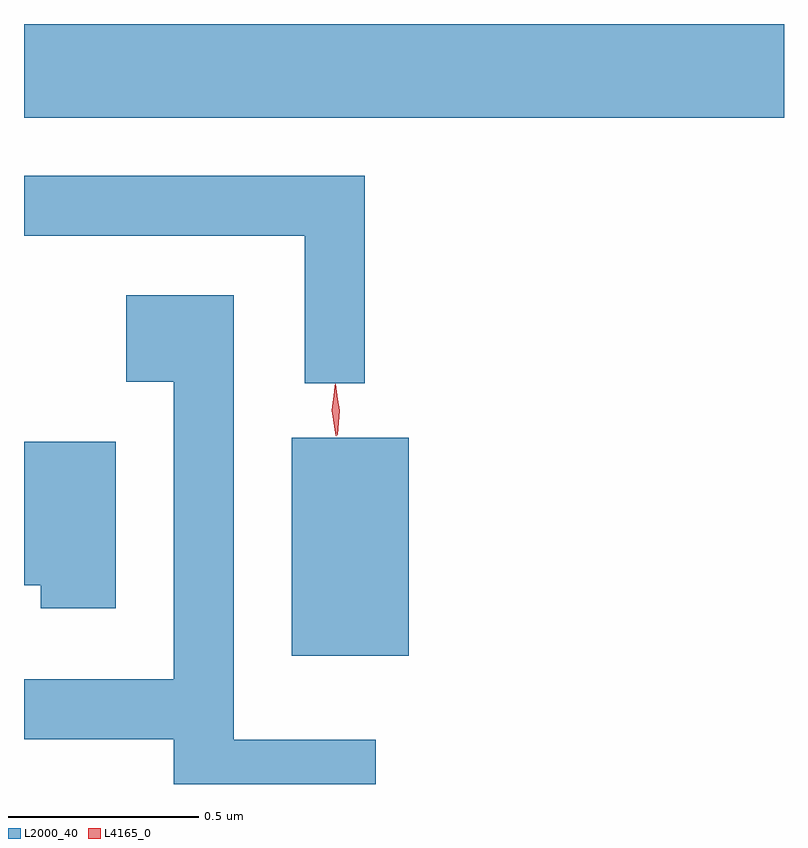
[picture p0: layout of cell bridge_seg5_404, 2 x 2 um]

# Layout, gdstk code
import gdstk
lib = gdstk.Library(unit=1e-6, precision=1e-09)
def R(c, l, rs):  # rectangles x0, y0, x1, y1
    for r in rs: c.add(gdstk.rectangle(r[:2], r[2:], *l))
def P(c, l, *ps):  # polygons
    for p in ps: c.add(gdstk.Polygon(p, *l))
L2000_40 = (2000, 40)
L4165_0 = (4165, 0)

bridge_seg5_404 = lib.new_cell('bridge_seg5_404')
R(bridge_seg5_404, L2000_40, [(551.546,1473.141,551.854,1473.714), (550.842,1474.556,552.842,1474.803)])
P(bridge_seg5_404, L2000_40, [(551.739,1474.404),(550.842,1474.404),(550.842,1474.246),(551.581,1474.246),(551.581,1473.858),(551.739,1473.858)],
  [(551.768,1472.919),(551.394,1472.919),(551.394,1474.089),(551.111,1474.089),(551.111,1473.861),(551.236,1473.861),(551.236,1473.079),(550.842,1473.079),(550.842,1472.921),(551.236,1472.921),(551.236,1472.803),(551.768,1472.803)],
  [(551.084,1473.704),(550.842,1473.704),(550.842,1473.326),(550.886,1473.326),(550.886,1473.266),(551.084,1473.266)])
P(bridge_seg5_404, L4165_0, [(551.664,1473.718),(551.663,1473.719),(551.652,1473.787),(551.661,1473.855),(551.661,1473.856),(551.662,1473.855),(551.672,1473.787),(551.664,1473.719)],
  [(551.666,1473.721),(551.666,1473.722),(551.654,1473.786),(551.66,1473.852),(551.66,1473.852),(551.661,1473.852),(551.673,1473.787),(551.667,1473.722)])

lib.write_gds('bridge_seg5_404.gds')
